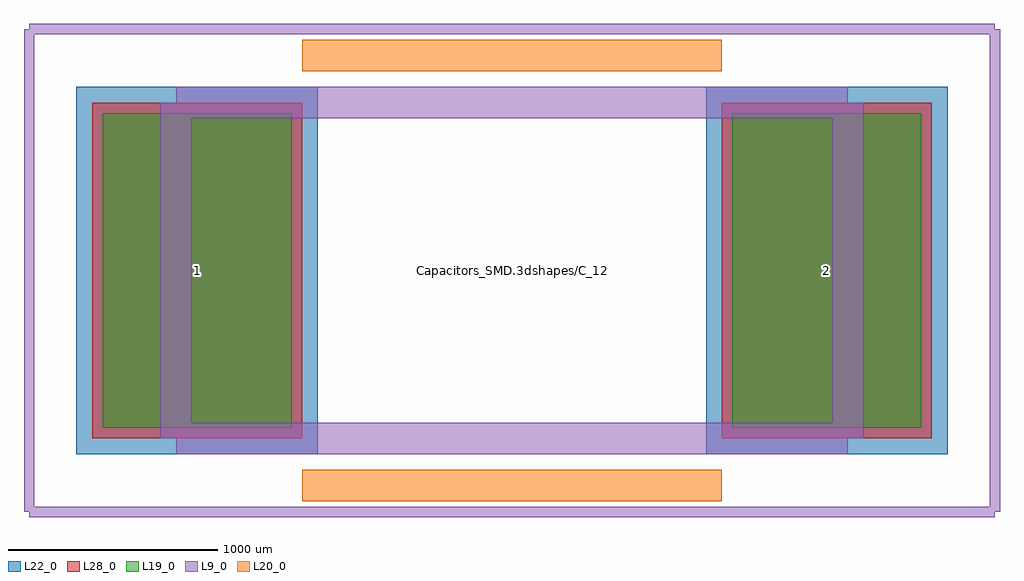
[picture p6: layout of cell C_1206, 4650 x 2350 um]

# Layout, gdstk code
import gdstk
lib = gdstk.Library(unit=1e-6, precision=1e-09)
def R(c, l, rs):  # rectangles x0, y0, x1, y1
    for r in rs: c.add(gdstk.rectangle(r[:2], r[2:], *l))
L9_0 = (9, 0)
L19_0 = (19, 0)
L20_0 = (20, 0)
L22_0 = (22, 0)
L28_0 = (28, 0)

c_1206 = lib.new_cell('C_1206')
R(c_1206, L19_0, [(-1950,-750,-1050,750), (1050,-750,1950,750)])
R(c_1206, L22_0, [(-2075,-875,-925,875), (925,-875,2075,875)])
R(c_1206, L28_0, [(-2000,-800,-1000,800), (1000,-800,2000,800)])
c_1206.add(gdstk.FlexPath([(-1000,-1025),(1000,-1025)], 149.998, ends="flush", simple_path=True, layer=20, datatype=0))  # L20_0
c_1206.add(gdstk.FlexPath([(1000,1025),(-1000,1025)], 149.998, ends="flush", simple_path=True, layer=20, datatype=0))  # L20_0
c_1206.add(gdstk.FlexPath([(2300,1150),(2300,-1150)], 50, ends="flush", simple_path=True, layer=9, datatype=0))  # L9_0
c_1206.add(gdstk.FlexPath([(-2300,1150),(-2300,-1150)], 50, ends="flush", simple_path=True, layer=9, datatype=0))  # L9_0
c_1206.add(gdstk.FlexPath([(-2300,-1150),(2300,-1150)], 50, ends="flush", simple_path=True, layer=9, datatype=0))  # L9_0
c_1206.add(gdstk.FlexPath([(-2300,1150),(2300,1150)], 50, ends="flush", simple_path=True, layer=9, datatype=0))  # L9_0
c_1206.add(gdstk.FlexPath([(-1600,800),(1600,800)], 149.998, ends="flush", simple_path=True, layer=9, datatype=0))  # L9_0
c_1206.add(gdstk.FlexPath([(1600,800),(1600,-800)], 149.998, ends="flush", simple_path=True, layer=9, datatype=0))  # L9_0
c_1206.add(gdstk.FlexPath([(1600,-800),(-1600,-800)], 149.998, ends="flush", simple_path=True, layer=9, datatype=0))  # L9_0
c_1206.add(gdstk.FlexPath([(-1600,-800),(-1600,800)], 149.998, ends="flush", simple_path=True, layer=9, datatype=0))  # L9_0
c_1206.add(gdstk.Label('Capacitors_SMD.3dshapes/C_1206.wrl', (0,0), layer=12, texttype=0))
c_1206.add(gdstk.Label('2', (1500,0), layer=28, texttype=0))
c_1206.add(gdstk.Label('1', (-1500,0), layer=28, texttype=0))
c_1206.add(gdstk.Label('type', (0,-2300), layer=9, texttype=0))
c_1206.add(gdstk.Label('devicename', (0,2300), layer=9, texttype=0))

lib.write_gds('C_1206.gds')
